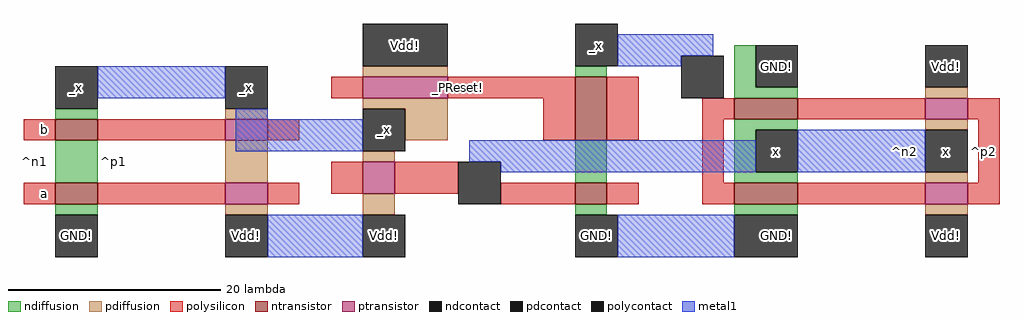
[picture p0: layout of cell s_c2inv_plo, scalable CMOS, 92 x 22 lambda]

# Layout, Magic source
magic
tech scmos
<< ntransistor >>
rect 93 58 97 60
rect 142 58 145 64
rect 157 60 163 62
rect 93 52 97 54
rect 142 52 145 54
rect 157 52 163 54
<< ptransistor >>
rect 122 62 130 64
rect 109 58 113 60
rect 175 60 179 62
rect 109 52 113 54
rect 122 53 125 56
rect 175 52 179 54
<< ndiffusion >>
rect 93 60 97 61
rect 142 64 145 65
rect 93 54 97 58
rect 157 63 159 67
rect 157 62 163 63
rect 93 51 97 52
rect 142 54 145 58
rect 157 59 163 60
rect 157 55 159 59
rect 157 54 163 55
rect 142 51 145 52
rect 157 51 163 52
<< pdiffusion >>
rect 122 64 130 65
rect 109 60 113 61
rect 122 61 130 62
rect 109 54 113 58
rect 126 58 130 61
rect 175 62 179 63
rect 122 56 125 57
rect 109 51 113 52
rect 122 51 125 53
rect 175 59 179 60
rect 175 54 179 55
rect 175 51 179 52
<< ndcontact >>
rect 93 61 97 65
rect 142 65 146 69
rect 159 63 163 67
rect 93 47 97 51
rect 159 55 163 59
rect 142 47 146 51
rect 157 47 163 51
<< pdcontact >>
rect 122 65 130 69
rect 109 61 113 65
rect 122 57 126 61
rect 175 63 179 67
rect 109 47 113 51
rect 175 55 179 59
rect 122 47 126 51
rect 175 47 179 51
<< polysilicon >>
rect 119 62 122 64
rect 130 62 142 64
rect 90 58 93 60
rect 97 58 109 60
rect 113 58 116 60
rect 139 58 142 62
rect 145 58 148 64
rect 154 60 157 62
rect 163 60 175 62
rect 179 60 182 62
rect 90 52 93 54
rect 97 52 109 54
rect 113 52 116 54
rect 119 53 122 56
rect 125 53 131 56
rect 154 54 156 60
rect 180 54 182 60
rect 135 52 142 54
rect 145 52 148 54
rect 154 52 157 54
rect 163 52 175 54
rect 179 52 182 54
<< polycontact >>
rect 152 62 156 66
rect 131 52 135 56
<< metal1 >>
rect 146 66 155 68
rect 146 65 152 66
rect 97 62 109 65
rect 110 60 113 61
rect 110 57 122 60
rect 132 56 159 58
rect 135 55 159 56
rect 163 55 175 59
rect 113 47 122 51
rect 146 47 157 51
<< labels >>
rlabel ndcontact 161 49 161 49 1 GND!
rlabel ndcontact 161 65 161 65 5 GND!
rlabel pdcontact 177 57 177 57 1 x
rlabel ndcontact 161 57 161 57 1 x
rlabel pdcontact 177 65 177 65 5 Vdd!
rlabel pdcontact 177 49 177 49 1 Vdd!
rlabel space 178 46 183 68 3 ^p2
rlabel space 162 45 184 69 3 ^n2
rlabel ndcontact 144 49 144 49 1 GND!
rlabel ndcontact 144 67 144 67 5 _x
rlabel pdcontact 111 49 111 49 1 Vdd!
rlabel pdcontact 111 63 111 63 1 _x
rlabel pdcontact 126 67 126 67 1 Vdd!
rlabel polysilicon 131 63 131 63 5 _PReset!
rlabel pdcontact 124 59 124 59 5 _x
rlabel pdcontact 124 49 124 49 1 Vdd!
rlabel ndcontact 95 49 95 49 1 GND!
rlabel polysilicon 92 53 92 53 3 a
rlabel polysilicon 92 59 92 59 3 b
rlabel ndcontact 95 63 95 63 1 _x
rlabel space 89 47 93 65 7 ^n1
rlabel space 88 46 109 66 7 ^p1
<< end >>
